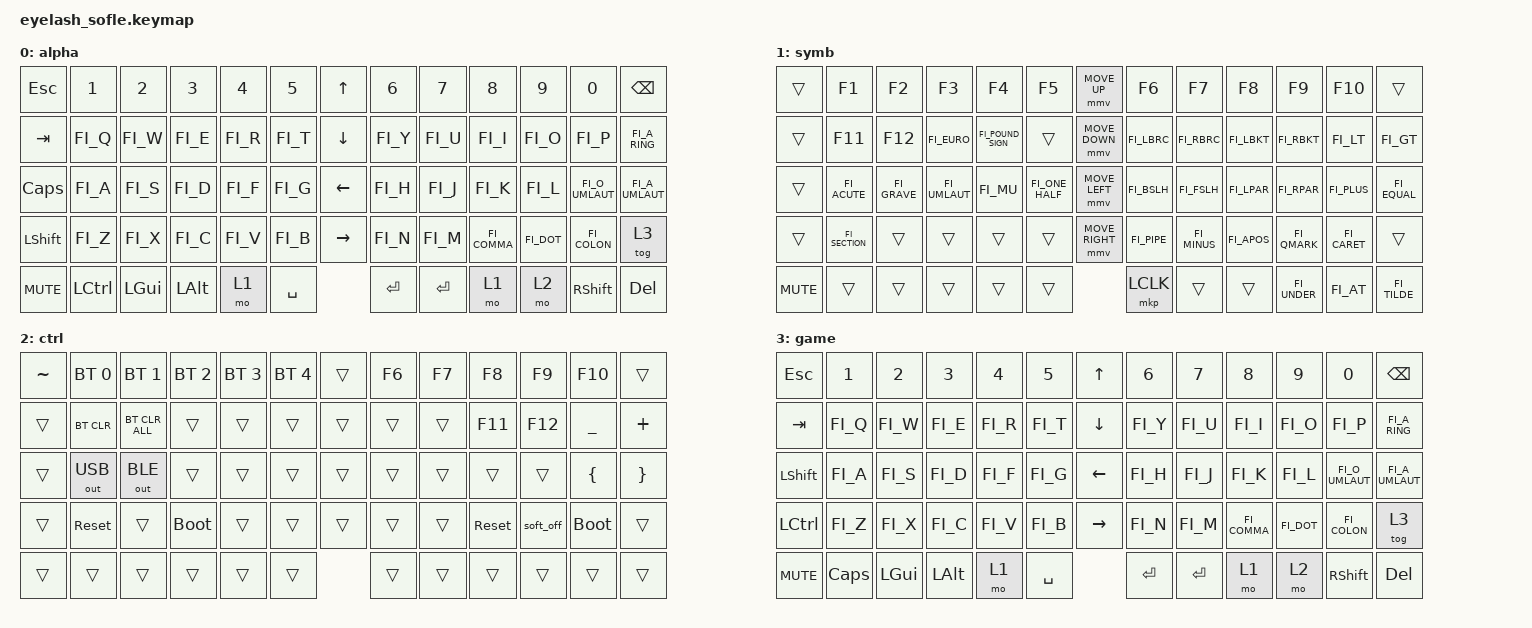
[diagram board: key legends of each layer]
#define ZMK_POINTING_DEFAULT_MOVE_VAL 1200  // 600
#define ZMK_POINTING_DEFAULT_SCRL_VAL 70   // 10
#define ZMK_BEHAVIOR_CORE_sensor_rotate compatible = "zmk,behavior-sensor-rotate"; #sensor-binding-cells = <0>

#include <input/processors.dtsi>
#include <zephyr/dt-bindings/input/input-event-codes.h>
#include <behaviors.dtsi>
#include <dt-bindings/zmk/bt.h>
#include <dt-bindings/zmk/keys.h>
#include <dt-bindings/zmk/outputs.h>
#include <dt-bindings/zmk/pointing.h>
#include <dt-bindings/zmk/rgb.h>
#include "zmk-helpers/helper.h"
#include "locale/keys_fi.h"

#define ___ &trans

&mmv_input_listener { input-processors = <&zip_xy_scaler 2 1>; };

&msc_input_listener { input-processors = <&zip_scroll_scaler 2 1>; };

&msc {
    acceleration-exponent = <0>;      // 0
    time-to-max-speed-ms = <100>;       // 300
    delay-ms = <0>;                   // 0
};

&mmv {
    time-to-max-speed-ms = <800>;
    acceleration-exponent = <1>;
    trigger-period-ms = <16>;
};

ZMK_BEHAVIOR(
    scroll_encoder,
    sensor_rotate,
    bindings = <&msc SCRL_DOWN>, <&msc SCRL_UP>;
    tap-ms = <20>;
)

/* Keymap */

ZMK_LAYER(alpha,
    // ╭─────────────┬─────────────┬─────────────┬─────────────┬─────────────┬─────────────╮                                                    ╭─────────────┬─────────────┬─────────────┬─────────────┬─────────────┬─────────────╮
            &kp ESC     &kp N1        &kp N2        &kp N3       &kp N4         &kp N5                      &kp UP_ARROW                            &kp N6         &kp N7       &kp N8        &kp N9        &kp N0     &kp BACKSPACE
    // ├─────────────┼─────────────┼─────────────┼─────────────┼─────────────┤─────────────┤                                                    ├─────────────┼─────────────┼─────────────┼─────────────┼─────────────┤─────────────┤
            &kp TAB     &kp FI_Q      &kp FI_W      &kp FI_E     &kp FI_R       &kp FI_T                    &kp DOWN_ARROW                         &kp FI_Y      &kp FI_U      &kp FI_I      &kp FI_O      &kp FI_P     &kp FI_A_RING
    // ├─────────────┼─────────────┼─────────────┼─────────────┼─────────────┤─────────────┤                                                    ├─────────────┼─────────────┼─────────────┼─────────────┼─────────────┤─────────────┤
            &kp CAPS    &kp FI_A      &kp FI_S      &kp FI_D     &kp FI_F       &kp FI_G                    &kp LEFT_ARROW                         &kp FI_H      &kp FI_J      &kp FI_K      &kp FI_L    &kp FI_O_UMLAUT &kp FI_A_UMLAUT
    // ├─────────────┼─────────────┼─────────────┼─────────────┼─────────────┤─────────────┤                                                    ├─────────────┼─────────────┼─────────────┼─────────────┼─────────────┤─────────────┤
            &kp LSHFT   &kp FI_Z      &kp FI_X      &kp FI_C     &kp FI_V       &kp FI_B                    &kp RIGHT_ARROW                        &kp FI_N      &kp FI_M      &kp FI_COMMA  &kp FI_DOT  &kp FI_COLON    &tog 3
    // ╰───────────────────────────┼─────────────┼─────────────┼─────────────┤─────────────┤─────────────╮                        ╭─────────────├─────────────┼─────────────┼─────────────┼─────────────┼───────────────────────────╯
            &kp C_MUTE               &kp LCTRL     &kp LEFT_GUI  &kp LEFT_ALT  &mo 1          &kp SPACE     &kp ENTER               &kp ENTER       &mo 1         &mo 2     &kp RIGHT_SHIFT  &kp DELETE,
    //                             ╰─────────────┼─────────────┼─────────────┼─────────────┤─────────────╯                        ╰─────────────┼─────────────┼─────────────┼─────────────┤─────────────╯
    &scroll_encoder
)

ZMK_LAYER(symb,
    // ╭─────────────┬─────────────┬─────────────┬─────────────┬─────────────┬─────────────╮                                                    ╭─────────────┬─────────────┬─────────────┬─────────────┬─────────────┬─────────────╮
             ___         &kp F1         &kp F2        &kp F3        &kp F4       &kp F5                     &mmv MOVE_UP                             &kp F6        &kp F7        &kp F8      &kp F9        &kp F10         ___
    // ├─────────────┼─────────────┼─────────────┼─────────────┼─────────────┤─────────────┤                                                    ├─────────────┼─────────────┼─────────────┼─────────────┼─────────────┤─────────────┤
             ___        &kp F11      &kp F12        &kp FI_EURO &kp FI_POUND_SIGN ___                       &mmv MOVE_DOWN                         &kp FI_LBRC  &kp FI_RBRC    &kp FI_LBKT   &kp FI_RBKT    &kp FI_LT     &kp FI_GT
    // ├─────────────┼─────────────┼─────────────┼─────────────┼─────────────┤─────────────┤                                                    ├─────────────┼─────────────┼─────────────┼─────────────┼─────────────┤─────────────┤
             ___        &kp FI_ACUTE    &kp FI_GRAVE  &kp FI_UMLAUT  &kp FI_MU  &kp FI_ONE_HALF             &mmv MOVE_LEFT                       &kp FI_BSLH   &kp FI_FSLH   &kp FI_LPAR    &kp FI_RPAR   &kp FI_PLUS   &kp FI_EQUAL
    // ├─────────────┼─────────────┼─────────────┼─────────────┼─────────────┤─────────────┤                                                    ├─────────────┼─────────────┼─────────────┼─────────────┼─────────────┤─────────────┤
             ___        &kp FI_SECTION     ___           ___           ___           ___                    &mmv MOVE_RIGHT                      &kp FI_PIPE   &kp FI_MINUS  &kp FI_APOS    &kp FI_QMARK  &kp FI_CARET      ___
    // ╰───────────────────────────┼─────────────┼─────────────┼─────────────┤─────────────┤─────────────╮                        ╭─────────────├─────────────┼─────────────┼─────────────┼─────────────┼───────────────────────────╯
            &kp C_MUTE                  ___           ___            ___           ___          ___         &mkp LCLK                    ___            ___    &kp FI_UNDER    &kp FI_AT    &kp FI_TILDE,
    //                             ╰─────────────┼─────────────┼─────────────┼─────────────┤─────────────╯                        ╰─────────────┼─────────────┼─────────────┼─────────────┤─────────────╯
    &inc_dec_kp C_VOLUME_UP C_VOL_DN
)

ZMK_LAYER(ctrl,
    // ╭─────────────┬─────────────┬─────────────┬─────────────┬─────────────┬─────────────╮                                                    ╭─────────────┬─────────────┬─────────────┬─────────────┬─────────────┬─────────────╮
        &kp TILDE      &bt BT_SEL 0  &bt BT_SEL 1  &bt BT_SEL 2 &bt BT_SEL 3   &bt BT_SEL 4                     ___                                 &kp F6       &kp F7      &kp F8       &kp F9          &kp F10         ___
    // ├─────────────┼─────────────┼─────────────┼─────────────┼─────────────┤─────────────┤                                                    ├─────────────┼─────────────┼─────────────┼─────────────┼─────────────┤─────────────┤
           ___         &bt BT_CLR    &bt BT_CLR_ALL     ___           ___           ___                         ___                                    ___             ___       &kp F11       &kp F12    &kp UNDER    &kp PLUS
    // ├─────────────┼─────────────┼─────────────┼─────────────┼─────────────┤─────────────┤                                                    ├─────────────┼─────────────┼─────────────┼─────────────┼─────────────┤─────────────┤
           ___         &out OUT_USB  &out OUT_BLE       ___           ___           ___                         ___                                    ___             ___         ___         ___           &kp LBRC     &kp RBRC
    // ├─────────────┼─────────────┼─────────────┼─────────────┼─────────────┤─────────────┤                                                    ├─────────────┼─────────────┼─────────────┼─────────────┼─────────────┤─────────────┤
           ___          &sys_reset       ___          &bootloader      ___           ___                        ___                                    ___            ___      &sys_reset  &soft_off       &bootloader        ___
    // ╰───────────────────────────┼─────────────┼─────────────┼─────────────┤─────────────┤─────────────╮                        ╭─────────────├─────────────┼─────────────┼─────────────┼─────────────┼───────────────────────────╯
               ___                         ___           ___             ___           ___           ___        ___                      ___         ___          ___            ___          ___,
    //                             ╰─────────────┼─────────────┼─────────────┼─────────────┤─────────────╯                        ╰─────────────┼─────────────┼─────────────┼─────────────┤─────────────╯
    &inc_dec_kp C_VOLUME_UP C_VOL_DN
)

ZMK_LAYER(game,
    // ╭─────────────┬─────────────┬─────────────┬─────────────┬─────────────┬─────────────╮                                                    ╭─────────────┬─────────────┬─────────────┬─────────────┬─────────────┬─────────────╮
            &kp ESC     &kp N1        &kp N2        &kp N3       &kp N4         &kp N5                      &kp UP_ARROW                            &kp N6         &kp N7       &kp N8        &kp N9        &kp N0     &kp BACKSPACE
    // ├─────────────┼─────────────┼─────────────┼─────────────┼─────────────┤─────────────┤                                                    ├─────────────┼─────────────┼─────────────┼─────────────┼─────────────┤─────────────┤
            &kp TAB     &kp FI_Q      &kp FI_W      &kp FI_E     &kp FI_R       &kp FI_T                    &kp DOWN_ARROW                         &kp FI_Y      &kp FI_U      &kp FI_I      &kp FI_O      &kp FI_P     &kp FI_A_RING
    // ├─────────────┼─────────────┼─────────────┼─────────────┼─────────────┤─────────────┤                                                    ├─────────────┼─────────────┼─────────────┼─────────────┼─────────────┤─────────────┤
            &kp LSHFT   &kp FI_A      &kp FI_S      &kp FI_D     &kp FI_F       &kp FI_G                    &kp LEFT_ARROW                         &kp FI_H      &kp FI_J      &kp FI_K      &kp FI_L    &kp FI_O_UMLAUT &kp FI_A_UMLAUT
    // ├─────────────┼─────────────┼─────────────┼─────────────┼─────────────┤─────────────┤                                                    ├─────────────┼─────────────┼─────────────┼─────────────┼─────────────┤─────────────┤
            &kp LCTRL   &kp FI_Z      &kp FI_X      &kp FI_C     &kp FI_V       &kp FI_B                    &kp RIGHT_ARROW                        &kp FI_N      &kp FI_M      &kp FI_COMMA  &kp FI_DOT  &kp FI_COLON    &tog 3
    // ╰───────────────────────────┼─────────────┼─────────────┼─────────────┤─────────────┤─────────────╮                        ╭─────────────├─────────────┼─────────────┼─────────────┼─────────────┼───────────────────────────╯
            &kp C_MUTE                 &kp CAPS    &kp LEFT_GUI  &kp LEFT_ALT   &mo 1          &kp SPACE     &kp ENTER               &kp ENTER       &mo 1         &mo 2     &kp RIGHT_SHIFT  &kp DELETE,
    //                             ╰─────────────┼─────────────┼─────────────┼─────────────┤─────────────╯                        ╰─────────────┼─────────────┼─────────────┼─────────────┤─────────────╯
    &inc_dec_kp C_VOLUME_UP C_VOL_DN
)
